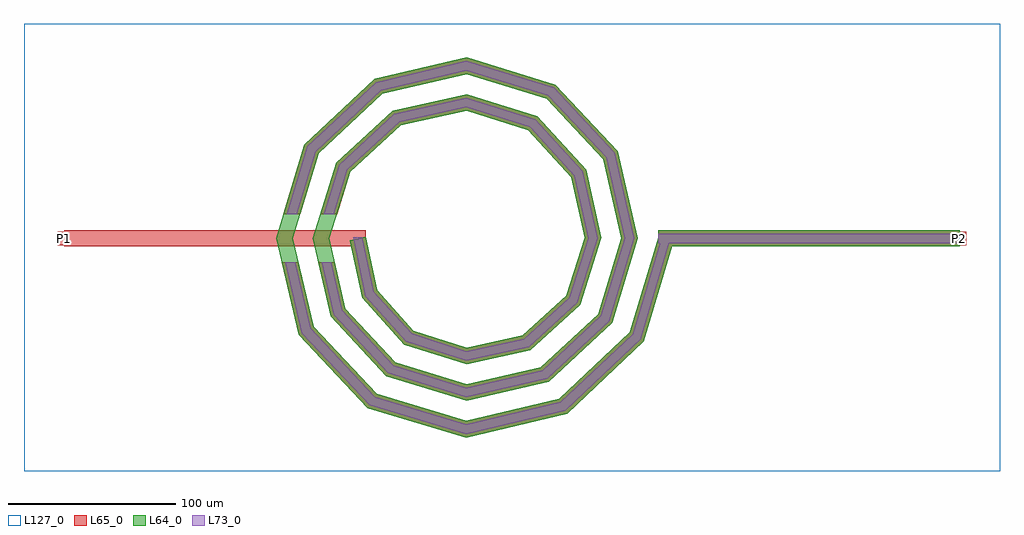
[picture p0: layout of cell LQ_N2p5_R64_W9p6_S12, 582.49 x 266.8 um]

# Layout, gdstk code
import gdstk
lib = gdstk.Library(unit=1e-6, precision=1e-09)
def R(c, l, rs):  # rectangles x0, y0, x1, y1
    for r in rs: c.add(gdstk.rectangle(r[:2], r[2:], *l))
def P(c, l, *ps):  # polygons
    for p in ps: c.add(gdstk.Polygon(p, *l))
L64_0 = (64, 0)
L65_0 = (65, 0)
L73_0 = (73, 0)
L127_0 = (127, 0)

lq_n2p5_r64_w9p6_s12 = lib.new_cell('LQ_N2p5_R64_W9p6_S12')
R(lq_n2p5_r64_w9p6_s12, L64_0, [(114.555,-4.8,294.555,4.8)])
P(lq_n2p5_r64_w9p6_s12, L64_0, [(-53.213,-31.015),(-31.492,-55.04),(0.24,-65.233),(33.729,-57.953),(59.76,-34.239),(70.694,0.223),(62.69,36.446),(36.983,64.482),(0.208,76.155),(-39.164,67.427),(-69.205,39.726),(-81.617,0.195),(-72.164,-41.884),(-42.467,-73.929),(0.183,-87.079),(44.605,-76.899),(78.654,-45.207),(92.54,0.173),(81.634,47.328),(47.946,83.379),(0.164,98.002),(-50.051,86.368),(-88.105,50.685),(-103.464,0.156),(-91.102,-52.775),(-53.422,-92.831),(0.148,-108.926),(55.499,-95.836),(97.558,-56.159),(114.756,1.375),(123.954,-1.375),(106.018,-61.375),(60.214,-104.586),(0.148,-118.86),(-58.65,-101.284),(-99.859,-57.477),(-113.398,0.156),(-96.55,55.926),(-54.739,95.133),(0.164,107.936),(53.202,91.815),(90.407,52),(102.474,0.173),(87.08,-50.479),(49.26,-85.681),(0.183,-97.011),(-47.757,-82.344),(-80.956,-46.52),(-91.549,0.195),(-77.607,45.037),(-43.778,76.232),(0.208,86.087),(42.317,72.87),(71.508,41.034),(80.624,0.223),(68.131,-39.599),(38.288,-66.786),(0.24,-75.161),(-36.884,-63.391),(-62.064,-35.54),(-69.429,-1.001),(-60.04,1.001)])
R(lq_n2p5_r64_w9p6_s12, L65_0, [(-239.935,-4.8,-59.935,4.8), (114.555,-4.8,294.555,4.8), (-243.935,-4,-235.935,4), (290.555,-4,298.555,4)])
P(lq_n2p5_r64_w9p6_s12, L65_0, [(-91.102,-52.775),(-53.422,-92.831),(0.148,-108.926),(55.499,-95.836),(97.558,-56.159),(114.756,1.375),(123.954,-1.375),(106.018,-61.375),(60.214,-104.586),(0.148,-118.861),(-58.65,-101.284),(-99.859,-57.477),(-109.979,-14.4),(-100.118,-14.4)],
  [(-72.164,-41.884),(-42.467,-73.929),(0.183,-87.079),(44.605,-76.899),(78.654,-45.207),(92.54,0.173),(81.634,47.328),(47.946,83.379),(0.164,98.002),(-50.051,86.368),(-88.105,50.685),(-99.067,14.4),(-109.095,14.4),(-96.55,55.926),(-54.739,95.133),(0.164,107.936),(53.202,91.815),(90.407,52),(102.474,0.173),(87.08,-50.479),(49.26,-85.681),(0.183,-97.011),(-47.757,-82.344),(-80.956,-46.52),(-88.24,-14.4),(-78.396,-14.4)],
  [(-31.493,-55.04),(0.24,-65.233),(33.729,-57.953),(59.76,-34.239),(70.694,0.223),(62.69,36.446),(36.983,64.482),(0.208,76.155),(-39.164,67.427),(-69.205,39.726),(-77.079,14.4),(-87.133,14.4),(-77.607,45.037),(-43.778,76.232),(0.208,86.087),(42.317,72.87),(71.508,41.034),(80.624,0.223),(68.131,-39.599),(38.288,-66.786),(0.24,-75.161),(-36.884,-63.391),(-62.064,-35.54),(-69.429,-1.001),(-60.041,1.001),(-53.213,-31.015)])
R(lq_n2p5_r64_w9p6_s12, L73_0, [(114.555,-2.8,294.555,2.8)])
P(lq_n2p5_r64_w9p6_s12, L73_0, [(-92.927,-53.754),(-54.511,-94.592),(0.086,-110.995),(56.482,-97.659),(99.32,-57.246),(116.672,0.802),(122.038,0.802),(104.255,-60.289),(59.232,-102.763),(0.086,-116.791),(-57.561,-99.523),(-98.035,-56.497),(-107.924,-14.4),(-102.172,-14.4)],
  [(-73.995,-42.85),(-43.569,-75.682),(0.107,-89.148),(45.575,-78.729),(80.409,-46.306),(94.61,0.101),(83.462,48.301),(49.041,85.137),(0.096,100.072),(-51.028,88.194),(-89.864,51.776),(-101.156,14.4),(-107.006,14.4),(-94.79,54.834),(-53.762,93.307),(0.096,105.866),(52.107,90.058),(88.579,51.027),(100.404,0.101),(85.324,-49.381),(48.291,-83.852),(0.107,-94.942),(-46.655,-80.591),(-79.124,-45.554),(-86.189,-14.4),(-80.447,-14.4)],
  [(-32.616,-56.78),(0.14,-67.301),(34.679,-59.793),(61.504,-35.356),(72.763,0.13),(64.528,37.402),(38.094,66.23),(0.121,78.224),(-40.125,69.262),(-70.956,40.832),(-79.174,14.4),(-85.038,14.4),(-75.857,43.93),(-42.816,74.398),(0.121,84.018),(41.206,71.123),(69.671,40.078),(78.555,0.13),(66.387,-38.483),(37.339,-64.945),(0.14,-73.093),(-35.761,-61.651),(-60.22,-34.598),(-67.473,0.584),(-61.997,0.584),(-55.057,-31.958)])
R(lq_n2p5_r64_w9p6_s12, L127_0, [(-263.935,-138.861,318.555,127.936)])
lq_n2p5_r64_w9p6_s12.add(gdstk.Label('P2', (294.555,0), layer=65, texttype=0))
lq_n2p5_r64_w9p6_s12.add(gdstk.Label('P1', (-239.935,0), layer=65, texttype=0))
lq_n2p5_r64_w9p6_s12.add(gdstk.Label('P2', (298.555,0), layer=145, texttype=0))
lq_n2p5_r64_w9p6_s12.add(gdstk.Label('P1', (-243.935,0), layer=145, texttype=0))

lib.write_gds('LQ_N2p5_R64_W9p6_S12.gds')
